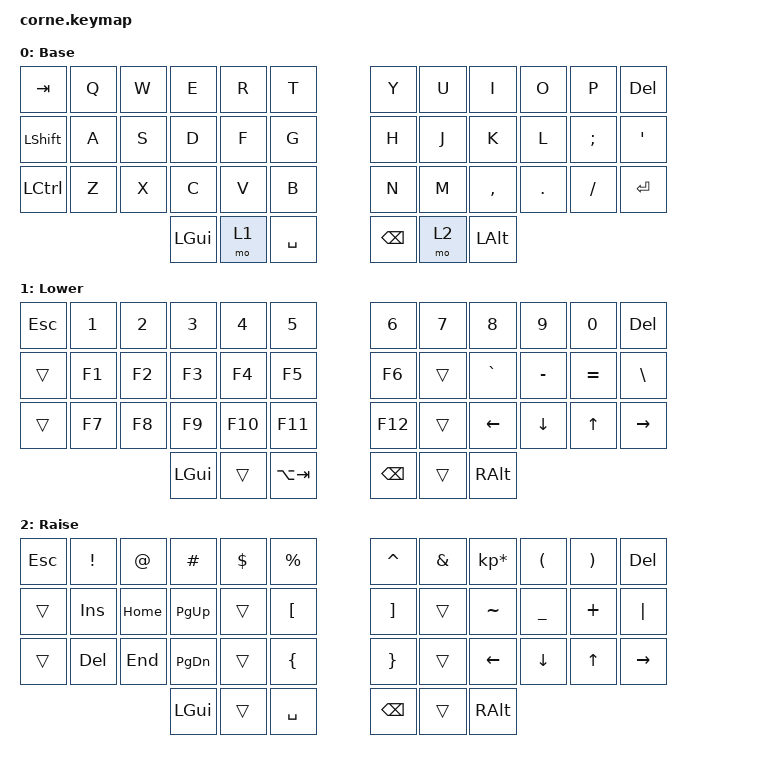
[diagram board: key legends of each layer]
/*
 * Copyright (c) 2020 The ZMK Contributors
 *
 * SPDX-License-Identifier: MIT
 */

#include <behaviors.dtsi>
#include <dt-bindings/zmk/keys.h>

/ {
    keymap {
        compatible = "zmk,keymap";

        default_layer {
            // -----------------------------------------------------------------------------------------
            // |  TAB |  Q  |  W  |  E  |  R  |  T  |   |  Y  |  U   |  I  |  O  |  P  | BKSP |
            // | CTRL |  A  |  S  |  D  |  F  |  G  |   |  H  |  J   |  K  |  L  |  ;  |  '   |
            // | SHFT |  Z  |  X  |  C  |  V  |  B  |   |  N  |  M   |  ,  |  .  |  /  | ESC  |
            //                    | GUI | LWR | SPC |   | ENT | RSE  | ALT |

            label = "Base";
            bindings = <
         &kp TAB  &kp Q  &kp W         &kp E  &kp R      &kp T            &kp Y  &kp U      &kp I    &kp O     &kp P  &kp DELETE
  &kp LEFT_SHIFT  &kp A  &kp S         &kp D  &kp F      &kp G            &kp H  &kp J      &kp K    &kp L  &kp SEMI     &kp SQT
&kp LEFT_CONTROL  &kp Z  &kp X         &kp C  &kp V      &kp B            &kp N  &kp M  &kp COMMA  &kp DOT  &kp FSLH   &kp ENTER
                                &kp LEFT_GUI  &mo 1  &kp SPACE    &kp BACKSPACE  &mo 2   &kp LALT
            >;
        };

        lower_layer {
            // -----------------------------------------------------------------------------------------
            // |  TAB |  1  |  2  |  3  |  4  |  5  |   |  6  |  7  |  8  |  9  |  0  | BKSP |
            // | BTCLR| BT1 | BT2 | BT3 | BT4 | BT5 |   | LFT | DWN |  UP | RGT |     |      |
            // | SHFT |     |     |     |     |     |   |     |     |     |     |     |      |
            //                    | GUI |     | SPC |   | ENT |     | ALT |

            label = "Lower";
            bindings = <
&kp ESC  &kp N1  &kp N2    &kp N3   &kp N4       &kp N5           &kp N6  &kp N7          &kp N8          &kp N9        &kp N0       &kp DELETE
 &trans  &kp F1  &kp F2    &kp F3   &kp F4       &kp F5           &kp F6  &trans       &kp GRAVE       &kp MINUS     &kp EQUAL    &kp BACKSLASH
 &trans  &kp F7  &kp F8    &kp F9  &kp F10      &kp F11          &kp F12  &trans  &kp LEFT_ARROW  &kp DOWN_ARROW  &kp UP_ARROW  &kp RIGHT_ARROW
                         &kp LGUI   &trans  &kp LA(TAB)    &kp BACKSPACE  &trans        &kp RALT
            >;
        };

        raise_layer {
            // -----------------------------------------------------------------------------------------
            // |  TAB |  !  |  @  |  #  |  $  |  %  |   |  ^  |  &  |  *  |  (  |  )  | BKSP |
            // | CTRL |     |     |     |     |     |   |  -  |  =  |  [  |  ]  |  \  |  `   |
            // | SHFT |     |     |     |     |     |   |  _  |  +  |  {  |  }  | "|" |  ~   |
            //                    | GUI |     | SPC |   | ENT |     | ALT |

            label = "Raise";
            bindings = <
&kp ESCAPE    &kp EXCL    &kp AT       &kp HASH  &kp DLLR         &kp PRCNT            &kp CARET  &kp AMPS  &kp KP_MULTIPLY        &kp LPAR      &kp RPAR       &kp DELETE
    &trans  &kp INSERT  &kp HOME    &kp PAGE_UP    &trans  &kp LEFT_BRACKET    &kp RIGHT_BRACKET    &trans        &kp TILDE       &kp UNDER      &kp PLUS         &kp PIPE
    &trans  &kp DELETE   &kp END  &kp PAGE_DOWN    &trans    &kp LEFT_BRACE      &kp RIGHT_BRACE    &trans   &kp LEFT_ARROW  &kp DOWN_ARROW  &kp UP_ARROW  &kp RIGHT_ARROW
                                       &kp LGUI    &trans         &kp SPACE        &kp BACKSPACE    &trans         &kp RALT
            >;
        };
    };
};
